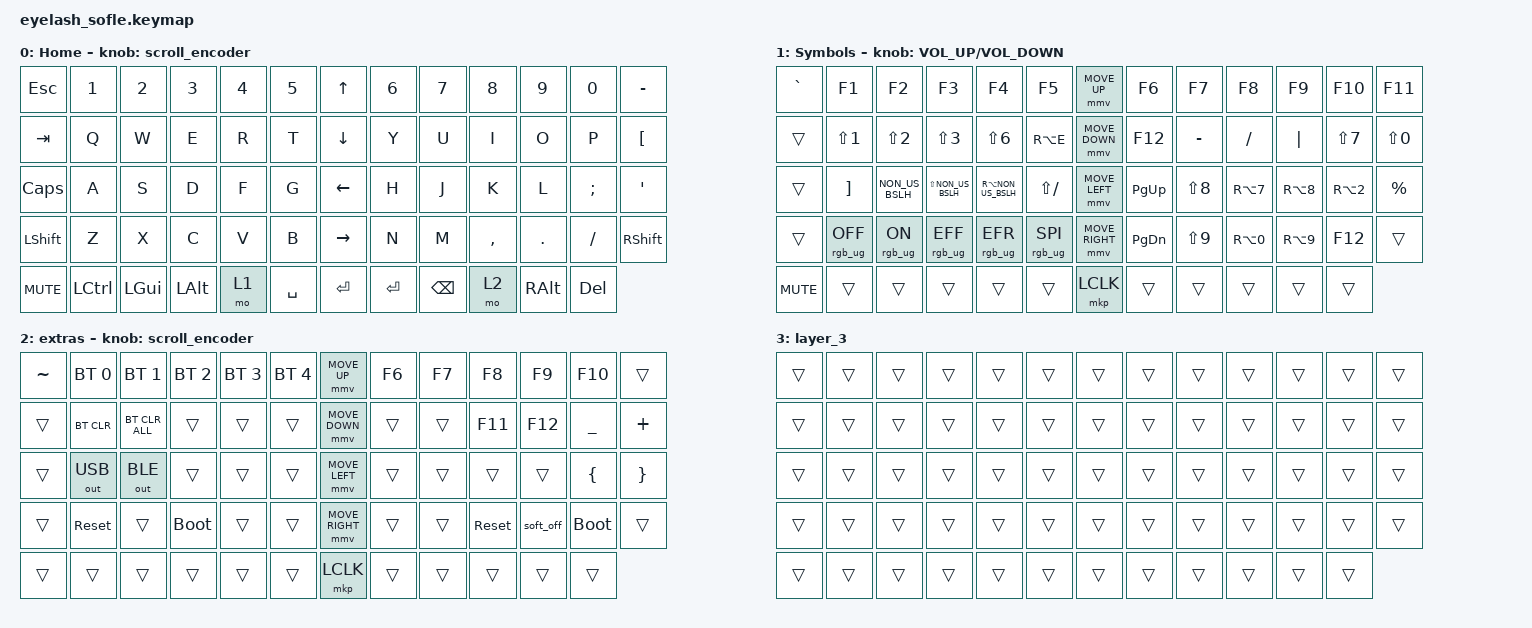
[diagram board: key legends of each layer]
#define ZMK_POINTING_DEFAULT_MOVE_VAL 1200  // 600
#define ZMK_POINTING_DEFAULT_SCRL_VAL 25   // 10

#include <input/processors.dtsi>
#include <zephyr/dt-bindings/input/input-event-codes.h>
#include <behaviors.dtsi>
#include <dt-bindings/zmk/bt.h>
#include <dt-bindings/zmk/keys.h>
#include <dt-bindings/zmk/outputs.h>
#include <dt-bindings/zmk/pointing.h>
#include <dt-bindings/zmk/rgb.h>

&mmv_input_listener { input-processors = <&zip_xy_scaler 2 1>; };

&msc_input_listener { input-processors = <&zip_scroll_scaler 2 1>; };

&msc {
    acceleration-exponent = <1>;      // 0
    time-to-max-speed-ms = <100>;       // 300
    delay-ms = <0>;                   // 0
};

&mmv {
    time-to-max-speed-ms = <500>;
    acceleration-exponent = <1>;
    trigger-period-ms = <16>;
};

/ {
    scroll_encoder: scroll_encoder {
        compatible = "zmk,behavior-sensor-rotate";
        #sensor-binding-cells = <0>;
        bindings = <&msc SCRL_DOWN>, <&msc SCRL_UP>;

        tap-ms = <100>;
    };

    behaviors {
    };

    keymap {
        compatible = "zmk,keymap";

        Home {
            bindings = <
&kp ESC     &kp N1     &kp N2        &kp N3        &kp N4  &kp N5       &kp UP_ARROW     &kp N6     &kp N7         &kp N8     &kp N9         &kp N0      &kp MINUS
&kp TAB     &kp Q      &kp W         &kp E         &kp R   &kp T        &kp DOWN_ARROW   &kp Y      &kp U          &kp I      &kp O          &kp P       &kp LBKT
&kp CAPS    &kp A      &kp S         &kp D         &kp F   &kp G        &kp LEFT_ARROW   &kp H      &kp J          &kp K      &kp L          &kp SEMI    &kp APOS
&kp LSHFT   &kp Z      &kp X         &kp C         &kp V   &kp B        &kp RIGHT_ARROW  &kp N      &kp M          &kp COMMA  &kp DOT        &kp FSLH    &kp RIGHT_SHIFT
&kp C_MUTE  &kp LCTRL  &kp LEFT_GUI  &kp LEFT_ALT  &mo 1   &kp SPACE    &kp ENTER        &kp ENTER  &kp BACKSPACE  &mo 2      &kp RIGHT_ALT  &kp DELETE
            >;

            sensor-bindings = <&scroll_encoder>;
            display-name = "Home";
        };

        Symbols {
            bindings = <
&kp GRAVE   &kp F1           &kp F2            &kp F3               &kp F4               &kp F5             &mmv MOVE_UP     &kp F6         &kp F7      &kp F8      &kp F9      &kp F10           &kp F11
&trans      &kp LS(N1)       &kp LS(NUMBER_2)  &kp LS(NUMBER_3)     &kp LS(NUMBER_6)     &kp RA(E)          &mmv MOVE_DOWN   &kp F12        &kp MINUS   &kp SLASH   &kp PIPE    &kp LS(N7)        &kp LS(N0)
&trans      &kp RBKT         &kp NON_US_BSLH   &kp LS(NON_US_BSLH)  &kp RA(NON_US_BSLH)  &kp LS(SLASH)      &mmv MOVE_LEFT   &kp PAGE_UP    &kp LS(N8)  &kp RA(N7)  &kp RA(N8)  &kp RA(NUMBER_2)  &kp PERCENT
&trans      &rgb_ug RGB_OFF  &rgb_ug RGB_ON    &rgb_ug RGB_EFF      &rgb_ug RGB_EFR      &rgb_ug RGB_SPI    &mmv MOVE_RIGHT  &kp PAGE_DOWN  &kp LS(N9)  &kp RA(N0)  &kp RA(N9)  &kp F12           &trans
&kp C_MUTE  &trans           &trans            &trans               &trans               &trans             &mkp LCLK        &trans         &trans      &trans      &trans      &trans
            >;

            display-name = "Symbols";
            sensor-bindings = <&inc_dec_kp K_VOLUME_UP K_VOLUME_DOWN>;
        };

        extras {
            bindings = <
&kp TILDE  &bt BT_SEL 0  &bt BT_SEL 1    &bt BT_SEL 2  &bt BT_SEL 3  &bt BT_SEL 4    &mmv MOVE_UP     &kp F6  &kp F7  &kp F8      &kp F9     &kp F10      &trans
&trans     &bt BT_CLR    &bt BT_CLR_ALL  &trans        &trans        &trans          &mmv MOVE_DOWN   &trans  &trans  &kp F11     &kp F12    &kp UNDER    &kp PLUS
&trans     &out OUT_USB  &out OUT_BLE    &trans        &trans        &trans          &mmv MOVE_LEFT   &trans  &trans  &trans      &trans     &kp LBRC     &kp RBRC
&trans     &sys_reset    &trans          &bootloader   &trans        &trans          &mmv MOVE_RIGHT  &trans  &trans  &sys_reset  &soft_off  &bootloader  &trans
&trans     &trans        &trans          &trans        &trans        &trans          &mkp LCLK        &trans  &trans  &trans      &trans     &trans
            >;

            sensor-bindings = <&scroll_encoder>;
        };

        layer_3 {
            bindings = <
&trans  &trans  &trans  &trans  &trans  &trans    &trans  &trans  &trans  &trans  &trans  &trans  &trans
&trans  &trans  &trans  &trans  &trans  &trans    &trans  &trans  &trans  &trans  &trans  &trans  &trans
&trans  &trans  &trans  &trans  &trans  &trans    &trans  &trans  &trans  &trans  &trans  &trans  &trans
&trans  &trans  &trans  &trans  &trans  &trans    &trans  &trans  &trans  &trans  &trans  &trans  &trans
&trans  &trans  &trans  &trans  &trans  &trans    &trans  &trans  &trans  &trans  &trans  &trans
            >;
        };
    };
};
